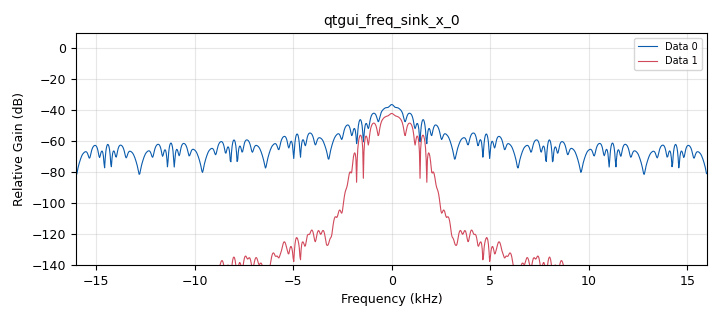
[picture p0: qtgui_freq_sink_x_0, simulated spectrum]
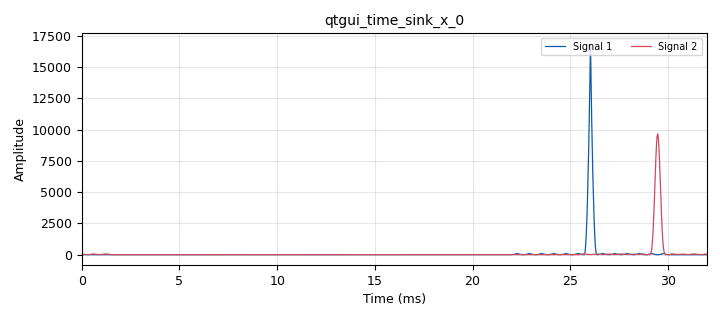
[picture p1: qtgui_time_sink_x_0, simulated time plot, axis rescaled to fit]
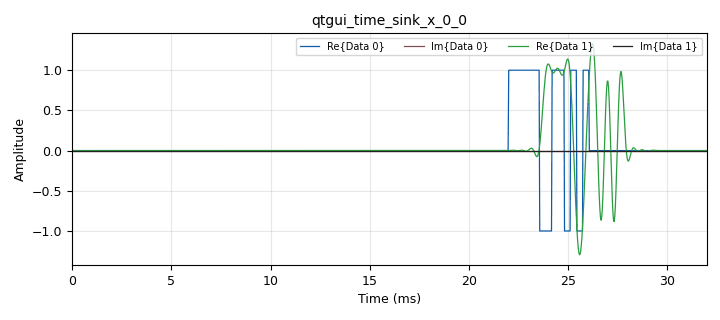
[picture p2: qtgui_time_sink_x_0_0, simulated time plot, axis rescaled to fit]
options:
  parameters:
    author: Fernando
    generate_options: qt_gui
    id: sim_radar
    output_language: python
    title: Simulación radar
  states: {}

blocks:
- name: barker_13
  id: variable
  parameters:
    value: '[1,1,1,1,1,-1,-1,1,1,-1,1,-1,1]'
  states: {}
- name: pausa
  id: variable
  parameters:
    value: np.repeat([0],1024-len(pulso))
  states: {}
- name: pausa_rrc
  id: variable
  parameters:
    value: np.repeat([0],1024-len(pulso_rrc))
  states: {}
- name: pulso
  id: variable
  parameters:
    value: np.repeat(barker_13,sps)
  states: {}
- name: pulso_rrc
  id: variable
  parameters:
    value: np.convolve(pulso,rrc_taps)
  states: {}
- name: rrc_taps
  id: variable_rrc_filter_taps
  parameters:
    alpha: '0.35'
    gain: '1'
    ntaps: 11*sps
    samp_rate: sps
    sym_rate: '1'
  states: {}
- name: samp_rate
  id: variable
  parameters:
    value: '32000'
  states: {}
- name: sps
  id: variable
  parameters:
    value: '10'
  states: {}
- name: blocks_complex_to_mag_squared_0
  id: blocks_complex_to_mag_squared
  parameters: {}
  states: {}
- name: blocks_complex_to_mag_squared_0_0
  id: blocks_complex_to_mag_squared
  parameters: {}
  states: {}
- name: blocks_throttle_0
  id: blocks_throttle
  parameters:
    samples_per_second: samp_rate
    type: complex
  states: {}
- name: blocks_vector_source_x_0
  id: blocks_vector_source_x
  parameters:
    repeat: 'True'
    type: complex
    vector: np.concatenate([pulso,pausa])
  states: {}
- name: blocks_vector_source_x_0_0
  id: blocks_vector_source_x
  parameters:
    repeat: 'True'
    type: complex
    vector: np.concatenate([pulso_rrc,pausa_rrc])
  states: {}
- name: fir_filter_xxx_0
  id: fir_filter_xxx
  parameters:
    decim: '1'
    taps: pulso[::-1]
    type: ccf
  states: {}
- name: fir_filter_xxx_0_0
  id: fir_filter_xxx
  parameters:
    decim: '1'
    taps: pulso_rrc[::-1]
    type: ccf
  states: {}
- name: import_0
  id: import
  parameters:
    imports: import numpy as np
  states: {}
- name: qtgui_freq_sink_x_0
  id: qtgui_freq_sink_x
  parameters:
    bw: samp_rate
    fc: '0'
    fftsize: '1024'
    gui_hint: 1,0,3,1
    nconnections: '2'
    type: complex
  states: {}
- name: qtgui_time_sink_x_0
  id: qtgui_time_sink_x
  parameters:
    gui_hint: 10,0,4,1
    nconnections: '2'
    size: '1024'
    srate: samp_rate
    type: float
  states: {}
- name: qtgui_time_sink_x_0_0
  id: qtgui_time_sink_x
  parameters:
    gui_hint: 5,0,4,1
    nconnections: '2'
    size: '1024'
    srate: samp_rate
    type: complex
  states: {}

connections:
- [blocks_complex_to_mag_squared_0, '0', qtgui_time_sink_x_0, '0']
- [blocks_complex_to_mag_squared_0_0, '0', qtgui_time_sink_x_0, '1']
- [blocks_throttle_0, '0', fir_filter_xxx_0, '0']
- [blocks_throttle_0, '0', qtgui_freq_sink_x_0, '0']
- [blocks_throttle_0, '0', qtgui_time_sink_x_0_0, '0']
- [blocks_vector_source_x_0, '0', blocks_throttle_0, '0']
- [blocks_vector_source_x_0_0, '0', fir_filter_xxx_0_0, '0']
- [blocks_vector_source_x_0_0, '0', qtgui_freq_sink_x_0, '1']
- [blocks_vector_source_x_0_0, '0', qtgui_time_sink_x_0_0, '1']
- [fir_filter_xxx_0, '0', blocks_complex_to_mag_squared_0, '0']
- [fir_filter_xxx_0_0, '0', blocks_complex_to_mag_squared_0_0, '0']

metadata:
  file_format: 1
  grc_version: 3.10.5.0
